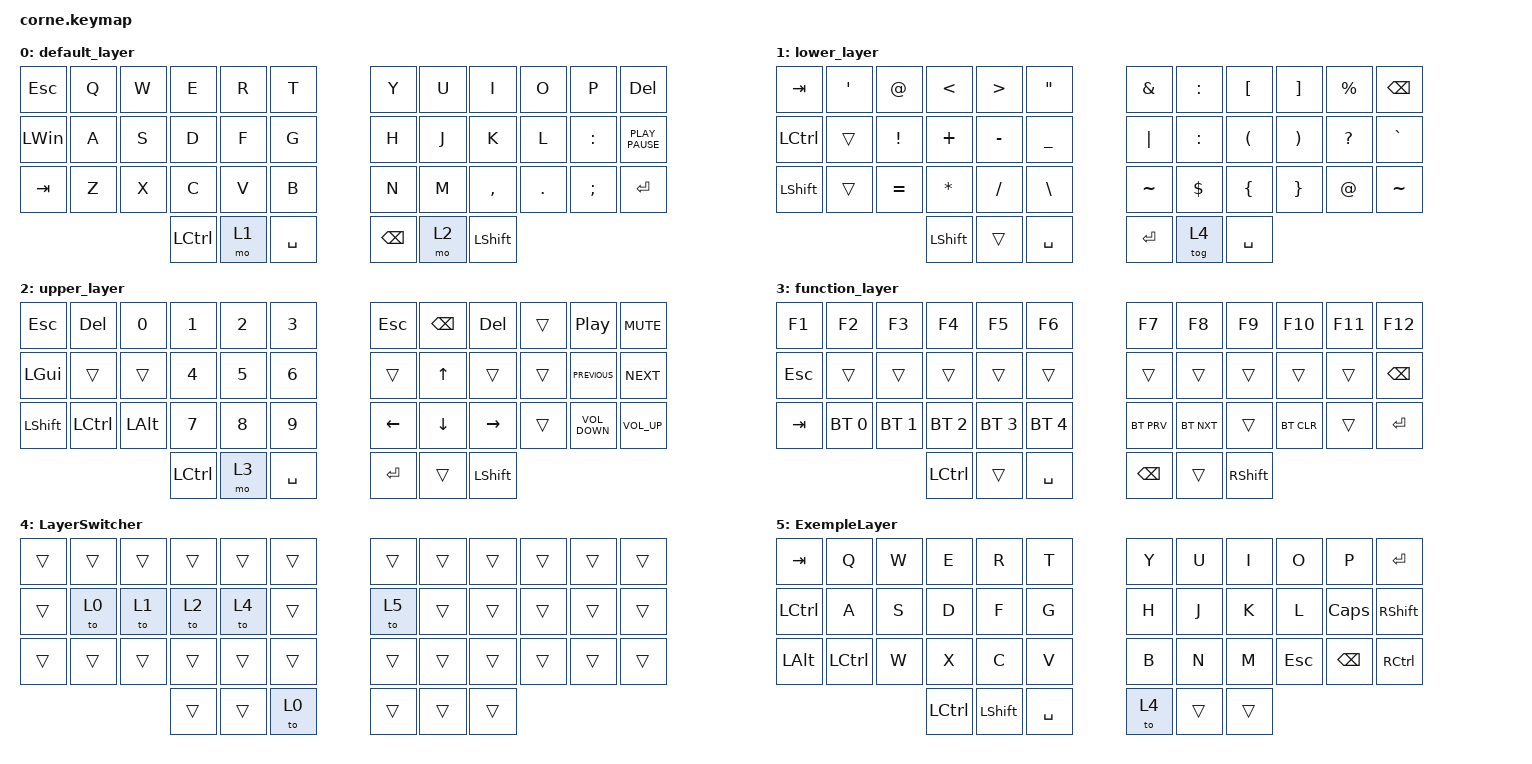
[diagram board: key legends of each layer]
/*
 * Copyright (c) 2020 The ZMK Contributors
 *
 * SPDX-License-Identifier: MIT
 */

#include <behaviors.dtsi>
#include <dt-bindings/zmk/bt.h>
#include <dt-bindings/zmk/keys.h>

/ {
    keymap {
        compatible = "zmk,keymap";

        default_layer {
            // -----------------------------------------------------------------------------------------
            // |  TAB |  Q  |  W  |  E  |  R  |  T  |   |  Y  |  U   |  I  |  O  |  P  | BKSP |
            // | CTRL |  A  |  S  |  D  |  F  |  G  |   |  H  |  J   |  K  |  L  |  ;  |  '   |
            // | SHFT |  Z  |  X  |  C  |  V  |  B  |   |  N  |  M   |  ,  |  .  |  /  | ESC  |
            //                    | GUI | LWR | SPC |   | ENT | RSE  | ALT |

            bindings = <
&kp ESCAPE    &kp Q  &kp W  &kp E             &kp R  &kp T        &kp Y          &kp U  &kp I           &kp O    &kp P          &kp DELETE
&kp LEFT_WIN  &kp A  &kp S  &kp D             &kp F  &kp G        &kp H          &kp J  &kp K           &kp L    &kp COLON      &kp K_PLAY_PAUSE
&kp TAB       &kp Z  &kp X  &kp C             &kp V  &kp B        &kp N          &kp M  &kp COMMA       &kp DOT  &kp SEMICOLON  &kp RET
                            &kp LEFT_CONTROL  &mo 1  &kp SPACE    &kp BACKSPACE  &mo 2  &kp LEFT_SHIFT
            >;
        };

        lower_layer {
            // -----------------------------------------------------------------------------------------
            // |  TAB |  !  |  @  |  #  |  $  |  %  |   |  ^  |  &  |  *  |  (  |  )  | BKSP |
            // | CTRL |     |     |     |     |     |   |  -  |  =  |  [  |  ]  |  \  |  `   |
            // | SHFT |     |     |     |     |     |   |  _  |  +  |  {  |  }  | "|" |  ~   |
            //                    | GUI |     | SPC |   | ENT |     | ALT |

            bindings = <
&kp TAB    &kp SQT  &kp AT           &kp LESS_THAN   &kp GREATER_THAN  &kp DOUBLE_QUOTES    &kp AMPERSAND  &kp COLON   &kp LEFT_BRACKET      &kp RIGHT_BRACKET      &kp PERCENT   &kp BSPC
&kp LCTRL  &trans   &kp EXCLAMATION  &kp PLUS        &kp MINUS         &kp UNDERSCORE       &kp PIPE       &kp COLON   &kp LEFT_PARENTHESIS  &kp RIGHT_PARENTHESIS  &kp QUESTION  &kp GRAVE
&kp LSHFT  &trans   &kp EQUAL        &kp ASTERISK    &kp SLASH         &kp BACKSLASH        &kp TILDE      &kp DOLLAR  &kp LEFT_BRACE        &kp RBRC               &kp AT_SIGN   &kp TILDE
                                     &kp LEFT_SHIFT  &trans            &kp SPACE            &kp RET        &tog 4      &kp SPACE
            >;
        };

        upper_layer {
            // -----------------------------------------------------------------------------------------
            // |  TAB |  1  |  2  |  3  |  4  |  5  |   |  6  |  7  |  8  |  9  |  0  | BKSP |
            // | BTCLR| BT1 | BT2 | BT3 | BT4 | BT5 |   | LFT | DWN |  UP | RGT |     |      |
            // | SHFT |     |     |     |     |     |   |     |     |     |     |     |      |
            //                    | GUI |     | SPC |   | ENT |     | ALT |

            bindings = <
&kp ESC         &kp DEL    &kp N0        &kp N1     &kp N2  &kp N3       &kp ESCAPE      &kp BACKSPACE   &kp DELETE       &trans  &kp C_PLAY_PAUSE   &kp C_MUTE
&kp LGUI        &trans     &trans        &kp N4     &kp N5  &kp N6       &trans          &kp UP_ARROW    &trans           &trans  &kp C_PREVIOUS     &kp C_NEXT
&kp LEFT_SHIFT  &kp LCTRL  &kp LEFT_ALT  &kp N7     &kp N8  &kp N9       &kp LEFT_ARROW  &kp DOWN_ARROW  &kp RIGHT_ARROW  &trans  &kp C_VOLUME_DOWN  &kp C_VOLUME_UP
                                         &kp LCTRL  &mo 3   &kp SPACE    &kp RET         &trans          &kp LSHFT
            >;
        };

        function_layer {
            bindings = <
&kp F1   &kp F2        &kp F3        &kp F4        &kp F5        &kp F6          &kp F7      &kp F8      &kp F9     &kp F10     &kp F11  &kp F12
&kp ESC  &trans        &trans        &trans        &trans        &trans          &trans      &trans      &trans     &trans      &trans   &kp BSPC
&kp TAB  &bt BT_SEL 0  &bt BT_SEL 1  &bt BT_SEL 2  &bt BT_SEL 3  &bt BT_SEL 4    &bt BT_PRV  &bt BT_NXT  &trans     &bt BT_CLR  &trans   &kp RET
                                     &kp LCTRL     &trans        &kp SPACE       &kp BSPC    &trans      &kp RSHFT
            >;
        };

        LayerSwitcher {
            bindings = <
&trans  &trans  &trans  &trans  &trans  &trans    &trans  &trans  &trans  &trans  &trans  &trans
&trans  &to 0   &to 1   &to 2   &to 4   &trans    &to 5   &trans  &trans  &trans  &trans  &trans
&trans  &trans  &trans  &trans  &trans  &trans    &trans  &trans  &trans  &trans  &trans  &trans
                        &trans  &trans  &to 0     &trans  &trans  &trans
            >;
        };

        ExempleLayer {
            bindings = <
&kp TAB    &kp Q      &kp W  &kp E      &kp R      &kp T        &kp Y  &kp U   &kp I   &kp O    &kp P     &kp ENTER
&kp LCTRL  &kp A      &kp S  &kp D      &kp F      &kp G        &kp H  &kp J   &kp K   &kp L    &kp CAPS  &kp RSHFT
&kp LALT   &kp LCTRL  &kp W  &kp X      &kp C      &kp V        &kp B  &kp N   &kp M   &kp ESC  &kp BSPC  &kp RCTRL
                             &kp LCTRL  &kp LSHFT  &kp SPACE    &to 4  &trans  &trans
            >;
        };
    };

    conditional_layers {
        compatible = "zmk,conditional-layers";

        SwitchToFunctionLayer {
            if-layers = <0>;
            then-layer = <4>;
        };
    };
};
